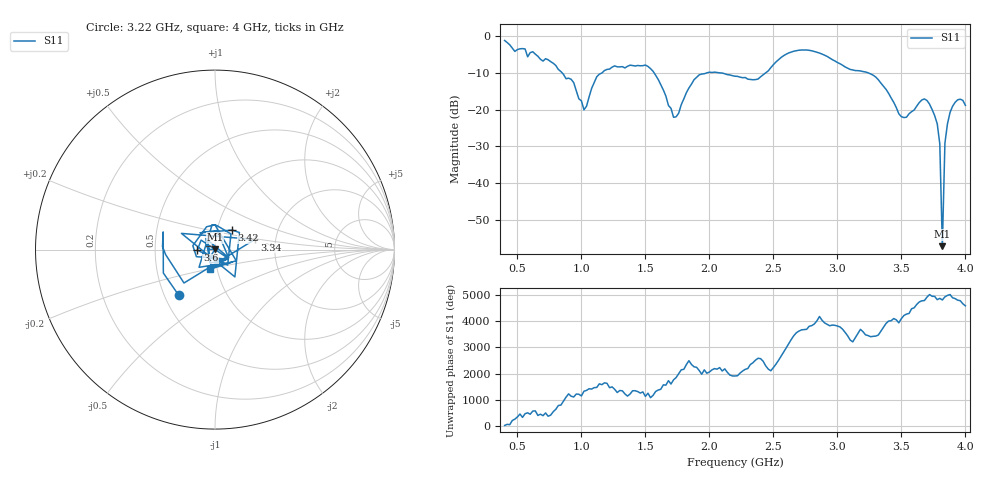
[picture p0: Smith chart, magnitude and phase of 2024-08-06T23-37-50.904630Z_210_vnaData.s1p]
!Created with skrf (http://scikit-rf.org).
# Hz S RI R 50.0
!freq ReS11 ImS11
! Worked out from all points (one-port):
!   181 points, 400 MHz to 4 GHz, reference 50 ohm
!   lowest |S11| = -57.2 dB at 3.82 GHz (marker M1), VSWR 1.00, Z = 49.9 + j0.122 ohm
!   |S11| at or under -10 dB: 1.568 GHz to 1.982 GHz (414.1 MHz wide, 23.3 % of centre); 2.077 GHz to 2.439 GHz (362.3 MHz wide, 16 % of centre); 3.239 GHz to end of sweep (the widest 3 of 4)
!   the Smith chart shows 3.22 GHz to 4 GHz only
!   S11 on the Smith chart (normalised r, x): 3.22 GHz: 0.59, -0.33; 3.34 GHz: 1.56, +0.18; 3.42 GHz: 1.18, +0.26; 3.6 GHz: 0.82, -0.00; 4 GHz: 0.92, -0.21
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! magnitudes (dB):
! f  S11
! 400 MHz  -1.2
! 860 MHz  -10.4
! 940 MHz  -12.7
! 1.02 GHz  -20.1
! 1.12 GHz  -11.1
! 1.3 GHz  -8.4
! 1.52 GHz  -8.3
! 1.72 GHz  -22.1
! 1.76 GHz  -21.0
! 1.92 GHz  -10.6
! 2.2 GHz  -10.9
! 2.38 GHz  -11.7
! 2.66 GHz  -4.1
! 3.1 GHz  -9.1
! 3.22 GHz  -9.8
! 3.34 GHz  -12.8
! 3.42 GHz  -16.9
! 3.5 GHz  -21.9
! 3.56 GHz  -21.1
! 3.6 GHz  -20.1
! 3.7 GHz  -17.5
! 3.78 GHz  -23.9
! 3.8 GHz  -29.4
! 3.82 GHz  -57.2
! 3.84 GHz  -29.2
! 3.86 GHz  -23.9
! 3.92 GHz  -18.0
! 4 GHz  -18.9
